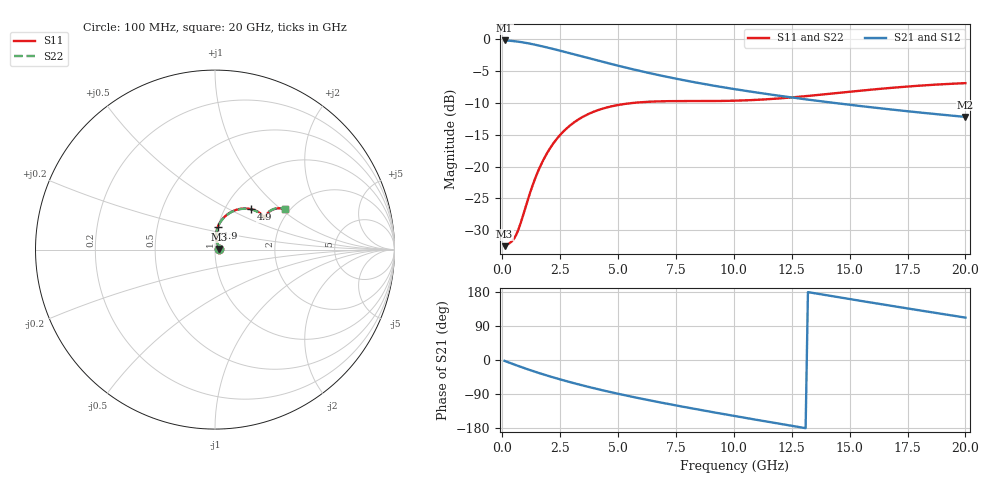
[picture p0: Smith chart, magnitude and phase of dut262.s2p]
! Touchstone file exported from HFSS 2023.1.0
!  File:  D:/Users/fzz/RDL_TSV/temp_RDL_TSV_262_1778761236.aedt
!  Generated:  8:33:06 %x4E0B%x5348  5%x6708 14, 2026
!  Design:  RDL_TSV
!  Project:  temp_RDL_TSV_262_1778761236
!  Setup:  Setup1
!  Solution:  Sweep
! Variables:
!  dtsv = 14.51um
!  hbump = 3um
!  htsv = 76.85um
!  ldown = 485.69um
!  lrdl = 484.98um
!  p = 40
!  p1 = 56.47um
!  rhole = 10um
!  subl = 3396.99um
!  t = 450um
!  tdown = 4.32um
!  trdl = 3.76um
!  viad = 10um
!  wdown = 18.85um
!  wrdl = 10.37um
!  xbump = 18um
# GHz S MA R 50.000000
! Terminal data exported
! Port[1] = TM1_1_T1
! Port[2] = TM1_4_T1
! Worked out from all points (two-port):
!   200 points, 100 MHz to 20 GHz, reference 50 ohm
!   highest |S21| = -0.21 dB at 100 MHz (marker M1); lowest = -12.2 dB at 20 GHz (marker M2)
!   |S21| within 3 dB of the highest: start of sweep to 3.964 GHz
!   lowest |S11| = -32.5 dB at 100 MHz (marker M3), VSWR 1.05, Z = 52.4 + j0.39 ohm
!   |S11| at or under -10 dB: start of sweep to 5.684 GHz
!   |S22| runs from -32.5 to -6.9 dB; largest |S21 - S12| = 7.4e-15
!   S11 on the Smith chart (normalised r, x): 100 MHz: 1.05, +0.01; 1.9 GHz: 1.00, +0.25; 4.9 GHz: 1.32, +0.65; 20 GHz: 1.89, +1.07
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0.1  0.02375 9.0  0.9758 -2.4  0.9758 -2.4  0.02375 9.0
! Gamma 0 0 0 0
! Port Impedance 50 0 50 0
0.4  0.02581 34.3  0.968 -9.3  0.968 -9.3  0.02582 34.2
0.6  0.02913 52.3  0.9592 -13.8  0.9592 -13.8  0.02914 52.2
0.8  0.03635 68.1  0.9481 -18.2  0.9481 -18.2  0.03634 68.0
1.4  0.079 85.6  0.9048 -30.7  0.9048 -30.7  0.07882 85.4
1.9  0.1244 83.3  0.8628 -40.4  0.8628 -40.4  0.124 83.2
2.2  0.1515 79.9  0.8368 -45.9  0.8368 -45.9  0.1511 79.8
2.6  0.1854 74.6  0.8021 -52.9  0.8021 -52.9  0.1848 74.5
3  0.2154 69.2  0.768 -59.6  0.768 -59.6  0.2147 69.1
3.5  0.2468 62.8  0.7269 -67.6  0.7269 -67.6  0.2459 62.7
4.2  0.2798 54.9  0.6734 -78.0  0.6734 -78.0  0.2787 54.8
4.9  0.3017 48.4  0.625 -87.8  0.625 -87.8  0.3004 48.3
5.8  0.3177 42.0  0.5706 -99.5  0.5706 -99.5  0.3161 41.9
6.8  0.3249 37.0  0.5197 -111.7  0.5197 -111.7  0.3231 36.9
8.4  0.3265 33.0  0.4553 -130.0  0.4553 -130.0  0.3245 33.0
10.1  0.329 32.6  0.4033 -148.5  0.4033 -148.5  0.3269 32.7
11.7  0.3398 33.7  0.3649 -165.4  0.3649 -165.4  0.338 33.9
13.4  0.361 34.8  0.3316 177.1  0.3316 177.1  0.3596 35.0
15.1  0.3879 34.8  0.3038 159.9  0.3038 159.9  0.3868 35.0
16.7  0.4131 33.7  0.2816 143.9  0.2816 143.9  0.4124 33.9
18.3  0.4347 32.0  0.2625 128.3  0.2625 128.3  0.4342 32.1
20  0.4513 29.8  0.2454 111.9  0.2454 111.9  0.4511 30.0
